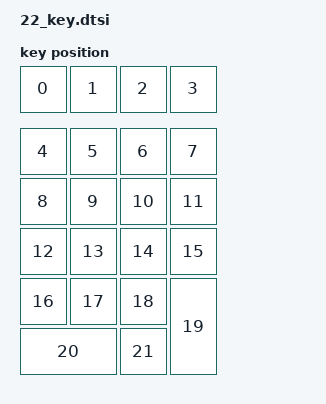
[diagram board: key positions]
#include <layouts/common/numpad/position_map.dtsi>
#include <physical_layouts.dtsi>

/ {
    layout_numpad_22_key: layout_numpad_22_key {
        compatible = "zmk,physical-layout";
        display-name = "22 Key Numpad";

        keys  //                     w   h    x    y     rot    rx    ry
            = <&key_physical_attrs 100 100    0    0       0     0     0>
            , <&key_physical_attrs 100 100  100    0       0     0     0>
            , <&key_physical_attrs 100 100  200    0       0     0     0>
            , <&key_physical_attrs 100 100  300    0       0     0     0>
            , <&key_physical_attrs 100 100    0  125       0     0     0>
            , <&key_physical_attrs 100 100  100  125       0     0     0>
            , <&key_physical_attrs 100 100  200  125       0     0     0>
            , <&key_physical_attrs 100 100  300  125       0     0     0>
            , <&key_physical_attrs 100 100    0  225       0     0     0>
            , <&key_physical_attrs 100 100  100  225       0     0     0>
            , <&key_physical_attrs 100 100  200  225       0     0     0>
            , <&key_physical_attrs 100 100  300  225       0     0     0>
            , <&key_physical_attrs 100 100    0  325       0     0     0>
            , <&key_physical_attrs 100 100  100  325       0     0     0>
            , <&key_physical_attrs 100 100  200  325       0     0     0>
            , <&key_physical_attrs 100 100  300  325       0     0     0>
            , <&key_physical_attrs 100 100    0  425       0     0     0>
            , <&key_physical_attrs 100 100  100  425       0     0     0>
            , <&key_physical_attrs 100 100  200  425       0     0     0>
            , <&key_physical_attrs 100 200  300  425       0     0     0>
            , <&key_physical_attrs 200 100    0  525       0     0     0>
            , <&key_physical_attrs 100 100  200  525       0     0     0>
            ;
    };
};

&layouts_common_numpad_position_map {
    layout_numpad_22_key {
        physical-layout = <&layout_numpad_22_key>;
        positions
            = < 0  1  2  3>
            , < 4  5  6  7>
            , < 8  9 10 11>
            , <12 13 14 15>
            , <16 17 18 19>
            , <20 22 21 23>
            ;
    };
};
